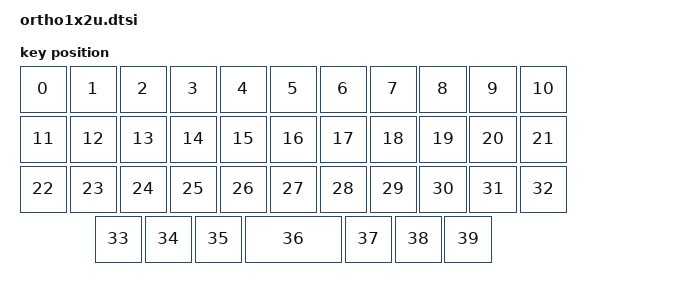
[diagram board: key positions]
#include <layouts/common/ortho_4x12/position_map.dtsi>
#include <physical_layouts.dtsi>

/ {
    layout_GB34_ortho_1x2u: layout_GB34_ortho_1x2u {
        compatible = "zmk,physical-layout";
        display-name = "ortho hhkb 4x11u 1x2U Space";

        keys  //                     w   h    x    y     rot    rx    ry
            = <&key_physical_attrs 100 100    0    0       0     0     0>
            , <&key_physical_attrs 100 100  100    0       0     0     0>
            , <&key_physical_attrs 100 100  200    0       0     0     0>
            , <&key_physical_attrs 100 100  300    0       0     0     0>
            , <&key_physical_attrs 100 100  400    0       0     0     0>
            , <&key_physical_attrs 100 100  500    0       0     0     0>
            , <&key_physical_attrs 100 100  600    0       0     0     0>
            , <&key_physical_attrs 100 100  700    0       0     0     0>
            , <&key_physical_attrs 100 100  800    0       0     0     0>
            , <&key_physical_attrs 100 100  900    0       0     0     0>
            , <&key_physical_attrs 100 100 1000    0       0     0     0>
            , <&key_physical_attrs 100 100    0  100       0     0     0>
            , <&key_physical_attrs 100 100  100  100       0     0     0>
            , <&key_physical_attrs 100 100  200  100       0     0     0>
            , <&key_physical_attrs 100 100  300  100       0     0     0>
            , <&key_physical_attrs 100 100  400  100       0     0     0>
            , <&key_physical_attrs 100 100  500  100       0     0     0>
            , <&key_physical_attrs 100 100  600  100       0     0     0>
            , <&key_physical_attrs 100 100  700  100       0     0     0>
            , <&key_physical_attrs 100 100  800  100       0     0     0>
            , <&key_physical_attrs 100 100  900  100       0     0     0>
            , <&key_physical_attrs 100 100 1000  100       0     0     0>
            , <&key_physical_attrs 100 100    0  200       0     0     0>
            , <&key_physical_attrs 100 100  100  200       0     0     0>
            , <&key_physical_attrs 100 100  200  200       0     0     0>
            , <&key_physical_attrs 100 100  300  200       0     0     0>
            , <&key_physical_attrs 100 100  400  200       0     0     0>
            , <&key_physical_attrs 100 100  500  200       0     0     0>
            , <&key_physical_attrs 100 100  600  200       0     0     0>
            , <&key_physical_attrs 100 100  700  200       0     0     0>
            , <&key_physical_attrs 100 100  800  200       0     0     0>
            , <&key_physical_attrs 100 100  900  200       0     0     0>
            , <&key_physical_attrs 100 100 1000  200       0     0     0>
            , <&key_physical_attrs 100 100  150  300       0     0     0>
            , <&key_physical_attrs 100 100  250  300       0     0     0>
            , <&key_physical_attrs 100 100  350  300       0     0     0>
            , <&key_physical_attrs 200 100  450  300       0     0     0>
            , <&key_physical_attrs 100 100  650  300       0     0     0>
            , <&key_physical_attrs 100 100  750  300       0     0     0>
            , <&key_physical_attrs 100 100  850  300       0     0     0>
            ;
    };
};

&niuniu_GB34_ortho_1x2u_position_map {
    GB34_ortho_1x2u_posmap: layout_ortho_4x11_1x2u {
        physical-layout = <&layout_ortho_4x11_1x2u>;
        positions
            = < 0  1  2  3  4  5  6  7  8  9 10 11>
            , <12 13 14 15 16 17 18 19 20 21 22 23>
            , <24 25 26 27 28 29 30 31 32 33 34 35>
            , <     36 37 38  39  40 41 42        >
            ;
    };
};
